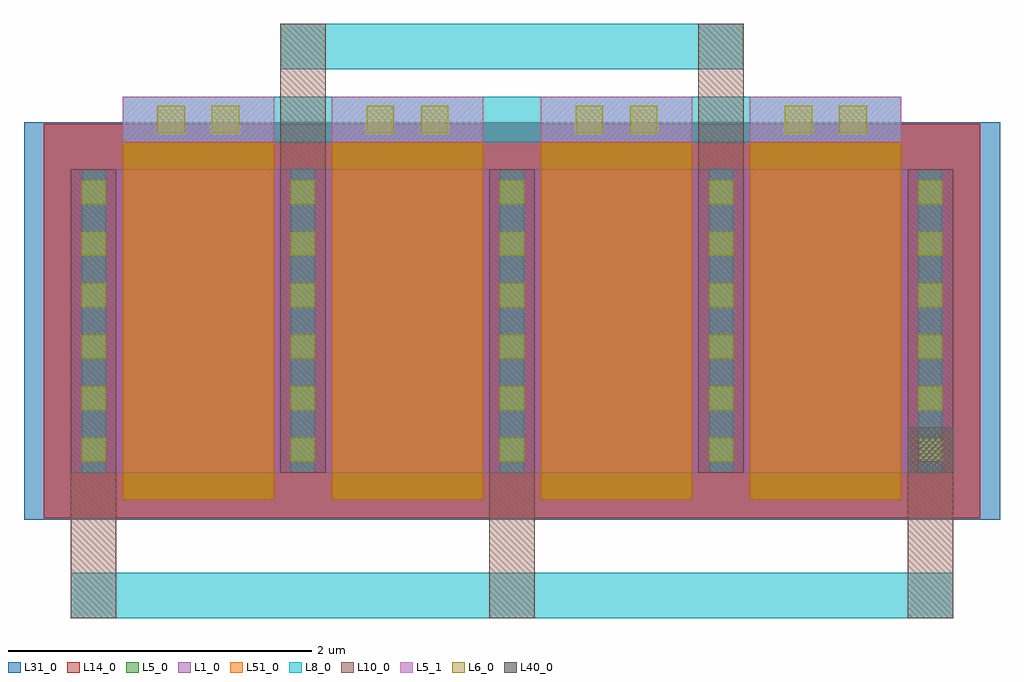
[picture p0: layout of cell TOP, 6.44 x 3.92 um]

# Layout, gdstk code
import gdstk
lib = gdstk.Library(unit=1e-6, precision=1e-09)
def R(c, l, rs):  # rectangles x0, y0, x1, y1
    for r in rs: c.add(gdstk.rectangle(r[:2], r[2:], *l))
def A(c, l, x, y, w, h, nx, ny, dx, dy):  # array of equal rectangles
    R(c, l, [(x+i*dx, y+j*dy, x+i*dx+w, y+j*dy+h) for i in range(nx) for j in range(ny)])
L1_0 = (1, 0)
L5_0 = (5, 0)
L5_1 = (5, 1)
L6_0 = (6, 0)
L8_0 = (8, 0)
L10_0 = (10, 0)
L14_0 = (14, 0)
L31_0 = (31, 0)
L40_0 = (40, 0)
L51_0 = (51, 0)

pmos = lib.new_cell('pmos')
A(pmos, L1_0, 0, 0, 0.3, 0.3, 5, 1, 1.38, 0)
R(pmos, L1_0, [(0,0,5.82,2)])
A(pmos, L5_0, 0.34, -0.18, 1, 2.36, 4, 1, 1.38, 0)
R(pmos, L5_0, [(0.34,-0.18,1.34,2.18), (0.34,-0.18,1.34,2.18)])
A(pmos, L6_0, 0.07, 0.07, 0.16, 0.16, 5, 6, 1.38, 0.34)
A(pmos, L8_0, 1.45, 0, 0.16, 2, 4, 1, 1.38, 0)
R(pmos, L8_0, [(0.07,0,0.23,2), (0.07,0,0.23,2), (0.07,0,0.23,2), (1.45,0,1.61,2), (1.45,0,1.61,2)])
R(pmos, L14_0, [(-0.18,-0.3,6,2.3)])
R(pmos, L31_0, [(-0.31,-0.31,6.13,2.31)])
R(pmos, L40_0, [(5.52,0,5.82,0.3), (5.52,0,5.82,0.3)])
A(pmos, L51_0, 0.34, -0.18, 1, 2.36, 4, 1, 1.38, 0)
pmos.add(gdstk.Label('pmos', (0.84,1), layer=63, texttype=0))
pmos.add(gdstk.Label('pmos', (0.84,1), layer=51, texttype=0))
pmos.add(gdstk.Label('pmos', (2.22,1), layer=51, texttype=0))
pmos.add(gdstk.Label('pmos', (3.6,1), layer=51, texttype=0))
pmos.add(gdstk.Label('pmos', (4.98,1), layer=51, texttype=0))

top = lib.new_cell('TOP')
A(top, L5_1, 0.34, 2.18, 1, 0.3, 4, 1, 1.38, 0)
R(top, L6_0, [(0.57,2.24,0.75,2.42), (0.93,2.24,1.11,2.42), (1.95,2.24,2.13,2.42), (2.31,2.24,2.49,2.42), (3.33,2.24,3.51,2.42), (3.69,2.24,3.87,2.42), (4.71,2.24,4.89,2.42), (5.07,2.24,5.25,2.42)])
R(top, L8_0, [(0,-0.96,5.82,-0.66), (0.34,2.18,5.48,2.48), (1.38,2.66,4.44,2.96)])
A(top, L10_0, 0, -0.96, 0.3, 2.96, 3, 1, 2.76, 0)
R(top, L10_0, [(1.38,0,1.68,2.96), (4.14,0,4.44,2.96)])
top.add(gdstk.Reference(pmos, (0,0)))

lib.write_gds('TOP.gds')
